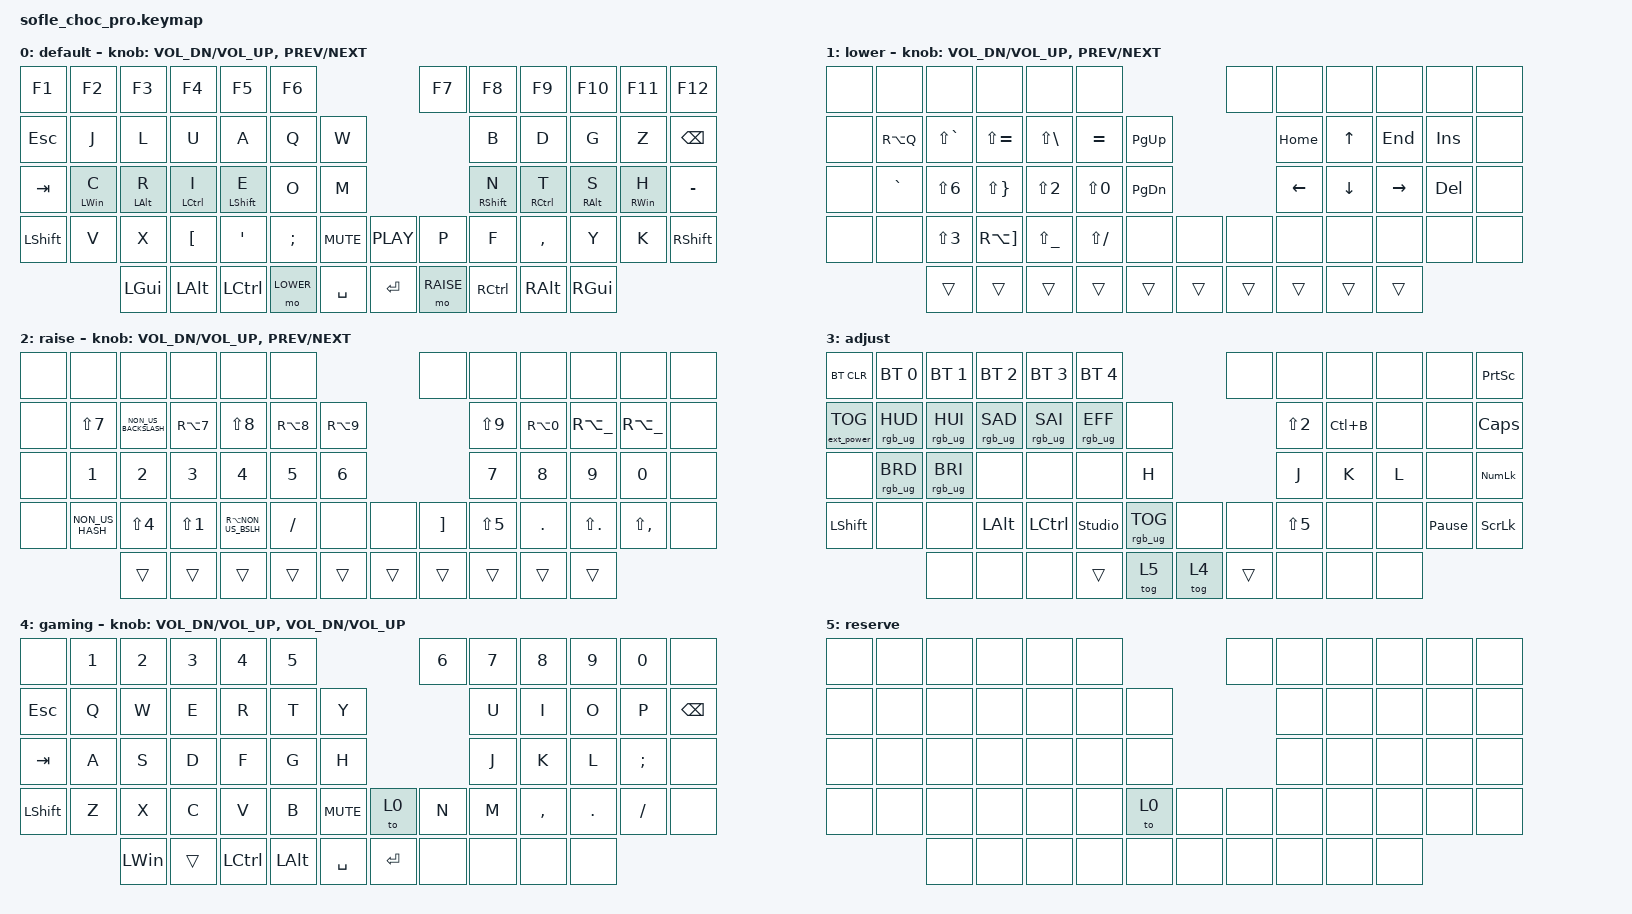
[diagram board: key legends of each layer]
/*
* Copyright (c) 2020 The ZMK Contributors
*
* SPDX-License-Identifier: MIT
*/

#include <behaviors.dtsi>
#include <dt-bindings/zmk/bt.h>
#include <dt-bindings/zmk/ext_power.h>
#include <dt-bindings/zmk/keys.h>
#include <dt-bindings/zmk/rgb.h>

#define BASE 0
#define LOWER 1
#define RAISE 2
#define ADJUST 3

/ {
    // Activate ADJUST layer by pressing raise and lower

    conditional_layers {
        compatible = "zmk,conditional-layers";

        adjust_layer {
            if-layers = <LOWER RAISE>;
            then-layer = <ADJUST>;
        };
    };

    keymap {
        compatible = "zmk,keymap";

        default_layer {
            display-name = "default";

            // ------------------------------------------------------------------------------------------------------------
            // |   `   |  1  |  2  |  3   |  4   |  5   |                   |  6   |  7    |  8    |  9   |   0   |   `   |
            // |  ESC  |  Q  |  W  |  E   |  R   |  T   |                   |  Y   |  U    |  I    |  O   |   P   | BKSPC |
            // |  TAB  |  A  |  S  |  D   |  F   |  G   |                   |  H   |  J    |  K    |  L   |   ;   |   '   |
            // | SHIFT |  Z  |  X  |  C   |  V   |  B   |  MUTE  |  | PLAY  |  N   |  M    |  ,    |  .   |   /   | SHIFT |
            //               | GUI | ALT  | CTRL | LOWER|  ENTER |  | SPACE | RAISE| CTRL  | ALT   | GUI  |

            bindings = <
&kp F1     &kp F2          &kp F3          &kp F4              &kp F5            &kp F6                             &kp F7     &kp F8             &kp F9               &kp F10          &kp F11          &kp F12
&kp ESC    &kp J           &kp L           &kp U               &kp A             &kp Q      &kp W                              &kp B              &kp D                &kp G            &kp Z            &kp BSPC
&kp TAB    &mt LEFT_WIN C  &mt LEFT_ALT R  &mt LEFT_CONTROL I  &mt LEFT_SHIFT E  &kp O      &kp M                              &mt RIGHT_SHIFT N  &mt RIGHT_CONTROL T  &mt RIGHT_ALT S  &mt RIGHT_WIN H  &kp MINUS
&kp LSHFT  &kp V           &kp X           &kp LEFT_BRACKET    &kp APOS          &kp SEMI   &kp C_MUTE  &kp C_PLAY  &kp P      &kp F              &kp COMMA            &kp Y            &kp K            &kp RSHFT
                           &kp LGUI        &kp LALT            &kp LCTRL         &mo LOWER  &kp SPACE   &kp ENTER   &mo RAISE  &kp RCTRL          &kp RALT             &kp RGUI
            >;

            sensor-bindings = <&inc_dec_kp C_VOL_DN C_VOL_UP &inc_dec_kp C_PREV C_NEXT>;
        };

        lower_layer {
            display-name = "lower";

            // ------------------------------------------------------------------------------------------------------------
            // |       |  F1 |  F2 |  F3  |  F4  |  F5  |                   |  F6  |  F7   |  F8   |  F9  |  F10  |  F11  |
            // |   `   |  1  |  2  |  3   |  4   |  5   |                   |  6   |  7    |  8    |  9   |   0   |  F12  |
            // |       |  !  |  @  |  #   |  $   |  %   |                   |  ^   |  &    |  *    |  (   |   )   |   |   |
            // |       |  =  |  -  |  +   |  {   |  }   |        |  |       |  [   |  ]    |  ;    |  :   |   \   |       |
            //               |     |      |      |      |        |  |       |      |       |       |      |

            bindings = <
&none  &none      &none             &none                  &none               &none                                &none   &none           &none           &none            &none    &none
&none  &kp RA(Q)  &kp LS(GRAVE)     &kp LS(EQUAL)          &kp LS(BACKSLASH)   &kp EQUAL         &kp PG_UP                  &kp HOME        &kp UP_ARROW    &kp END          &kp INS  &none
&none  &kp GRAVE  &kp LS(NUMBER_6)  &kp LS(RIGHT_BRACE)    &kp LS(NUMBER_2)    &kp LS(NUMBER_0)  &kp PG_DN                  &kp LEFT_ARROW  &kp DOWN_ARROW  &kp RIGHT_ARROW  &kp DEL  &none
&none  &none      &kp LS(NUMBER_3)  &kp RA(RIGHT_BRACKET)  &kp LS(UNDERSCORE)  &kp LS(SLASH)     &none      &none   &none   &none           &none           &none            &none    &none
                  &trans            &trans                 &trans              &trans            &trans     &trans  &trans  &trans          &trans          &trans
            >;

            sensor-bindings = <&inc_dec_kp C_VOL_DN C_VOL_UP &inc_dec_kp C_PREV C_NEXT>;
        };

        raise_layer {
            display-name = "raise";

            // ------------------------------------------------------------------------------------------------------------
            // | BTCLR | BT1  | BT2  |  BT3  |  BT4  |  BT5 |                |      |      |       |      |       |       |
            // |       | INS  | PSCR | GUI   |       |      |                | PGUP |      |   ^   |      |       |       |
            // |       | ALT  | CTRL | SHIFT |       | CAPS |                | PGDN |   <- |   v   |  ->  |  DEL  | BKSPC |
            // |       | UNDO | CUT  | COPY  | PASTE |      |      |  |      |      |      |       |      |       |       |
            //                |      |       |       |      |      |  |      |      |      |       |      |

            bindings = <
&none  &none             &none                 &none             &none                &none                                       &none              &none             &none             &none               &none               &none
&none  &kp LS(NUMBER_7)  &kp NON_US_BACKSLASH  &kp RA(NUMBER_7)  &kp LS(NUMBER_8)     &kp RA(NUMBER_8)  &kp RA(NUMBER_9)                             &kp LS(NUMBER_9)  &kp RA(NUMBER_0)  &kp RA(UNDERSCORE)  &kp RA(UNDERSCORE)  &none
&none  &kp NUMBER_1      &kp NUMBER_2          &kp NUMBER_3      &kp NUMBER_4         &kp NUMBER_5      &kp NUMBER_6                                 &kp NUMBER_7      &kp NUMBER_8      &kp NUMBER_9        &kp NUMBER_0        &none
&none  &kp NON_US_HASH   &kp LS(NUMBER_4)      &kp LS(NUMBER_1)  &kp RA(NON_US_BSLH)  &kp SLASH         &none             &none   &kp RIGHT_BRACKET  &kp LS(NUMBER_5)  &kp PERIOD        &kp LS(PERIOD)      &kp LS(COMMA)       &none
                         &trans                &trans            &trans               &trans            &trans            &trans  &trans             &trans            &trans            &trans
            >;

            sensor-bindings = <&inc_dec_kp C_VOL_DN C_VOL_UP &inc_dec_kp C_PREV C_NEXT>;
        };

        adjust_layer {
            // ----------------------------------------------------------------------------------------------------------------------------
            // | BTCLR  |  BT1    |  BT2    |   BT3   |   BT4   |   BT5   |                  |      |      |       |      |       |       |
            // | EXTPWR | RGB_HUD | RGB_HUI | RGB_SAD | RGB_SAI | RGB_EFF |                  |      |      |       |      |       |       |
            // |        | RGB_BRD | RGB_BRI |         |         |         |                  |      |      |       |      |       |       |
            // |        |         |         |         |         |         | RGB_TOG | |      |      |      |       |      |       |       |
            //                    |         |         |         |         |         | |      |      |      |       |      |

            display-name = "adjust";
            bindings = <
&bt BT_CLR         &bt BT_SEL 0     &bt BT_SEL 1     &bt BT_SEL 2     &bt BT_SEL 3      &bt BT_SEL 4                              &none   &none             &none      &none  &none            &kp PRINTSCREEN
&ext_power EP_TOG  &rgb_ug RGB_HUD  &rgb_ug RGB_HUI  &rgb_ug RGB_SAD  &rgb_ug RGB_SAI   &rgb_ug RGB_EFF  &none                            &kp LS(NUMBER_2)  &kp LC(B)  &none  &none            &kp CAPSLOCK
&none              &rgb_ug RGB_BRD  &rgb_ug RGB_BRI  &none            &none             &none            &kp H                            &kp J             &kp K      &kp L  &none            &kp KP_NUMLOCK
&kp LEFT_SHIFT     &none            &none            &kp LEFT_ALT     &kp LEFT_CONTROL  &studio_unlock   &rgb_ug RGB_TOG  &none   &none   &kp LS(NUMBER_5)  &none      &none  &kp PAUSE_BREAK  &kp SCROLLLOCK
                                    &none            &none            &none             &trans           &tog 5           &tog 4  &trans  &none             &none      &none
            >;
        };

        gaming_layer {
            bindings = <
&none       &kp NUMBER_1  &kp NUMBER_2  &kp NUMBER_3  &kp NUMBER_4  &kp N5                               &kp NUMBER_6  &kp NUMBER_7  &kp NUMBER_8  &kp NUMBER_9  &kp NUMBER_0   &none
&kp ESCAPE  &kp Q         &kp W         &kp E         &kp R         &kp T         &kp Y                                &kp U         &kp I         &kp O         &kp P          &kp BACKSPACE
&kp TAB     &kp A         &kp S         &kp D         &kp F         &kp G         &kp H                                &kp J         &kp K         &kp L         &kp SEMICOLON  &none
&kp LSHIFT  &kp Z         &kp X         &kp C         &kp V         &kp B         &kp C_MUTE  &to 0      &kp N         &kp M         &kp COMMA     &kp PERIOD    &kp SLASH      &none
                          &kp LEFT_WIN  &trans        &kp LCTRL     &kp LEFT_ALT  &kp SPACE   &kp ENTER  &none         &none         &none         &none
            >;

            label = "gaming";
            sensor-bindings =
                <&inc_dec_kp C_VOL_DN C_VOL_UP>,
                <&inc_dec_kp C_VOL_DN C_VOL_UP>;
        };

        reserve_layer {
            bindings = <
&none  &none  &none  &none  &none  &none                &none  &none  &none  &none  &none  &none
&none  &none  &none  &none  &none  &none  &none                &none  &none  &none  &none  &none
&none  &none  &none  &none  &none  &none  &none                &none  &none  &none  &none  &none
&none  &none  &none  &none  &none  &none  &to 0  &none  &none  &none  &none  &none  &none  &none
              &none  &none  &none  &none  &none  &none  &none  &none  &none  &none
            >;

            label = "reserve";
        };
    };
};
